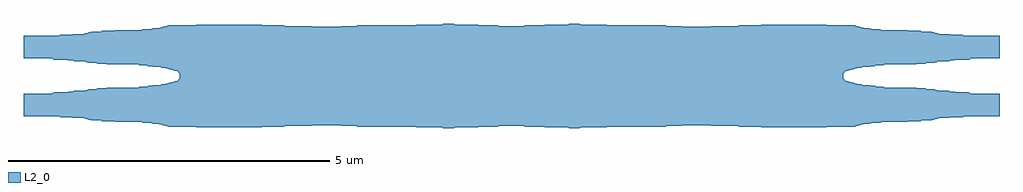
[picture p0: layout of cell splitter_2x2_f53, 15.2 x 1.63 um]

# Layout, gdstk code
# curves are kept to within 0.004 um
import gdstk
lib = gdstk.Library(unit=1e-6, precision=1e-09)
def P(c, l, *ps):  # polygons
    for p in ps: c.add(gdstk.Polygon(p, *l))
L2_0 = (2, 0)

splitter_2x2_f53 = lib.new_cell('splitter_2x2_f53')
P(splitter_2x2_f53, L2_0, [(-5.47,0.14),(-5.577,0.144),(-5.601,0.155),(-5.666,0.156),(-5.689,0.168),(-5.784,0.168),(-5.814,0.18),(-6.298,0.18),(-6.326,0.192),(-6.447,0.192),(-6.476,0.205),(-6.572,0.205),(-6.651,0.23),(-6.811,0.23),(-6.839,0.242),(-6.899,0.242),(-6.926,0.255),(-7.124,0.255),(-7.17,0.275),(-7.6,0.275),(-7.6,0.625),(-7.057,0.625),(-7.024,0.64),(-6.852,0.64),(-6.824,0.652),(-6.665,0.652),(-6.641,0.664),(-6.564,0.677),(-6.535,0.69),(-6.401,0.69),(-6.372,0.702),(-6.189,0.702),(-6.16,0.715),(-5.764,0.715),(-5.735,0.728),(-5.614,0.728),(-5.591,0.739),(-5.501,0.74),(-5.47,0.751)],
  [(-5.479,-0.752),(-5.501,-0.741),(-5.584,-0.741),(-5.614,-0.729),(-5.735,-0.729),(-5.764,-0.716),(-6.16,-0.716),(-6.189,-0.704),(-6.372,-0.704),(-6.401,-0.691),(-6.535,-0.691),(-6.614,-0.666),(-6.641,-0.665),(-6.665,-0.654),(-6.824,-0.654),(-6.852,-0.641),(-7.024,-0.641),(-7.052,-0.625),(-7.6,-0.625),(-7.6,-0.275),(-7.152,-0.275),(-7.124,-0.256),(-6.926,-0.256),(-6.899,-0.244),(-6.839,-0.244),(-6.811,-0.231),(-6.651,-0.231),(-6.572,-0.206),(-6.476,-0.206),(-6.447,-0.194),(-6.326,-0.194),(-6.298,-0.181),(-5.814,-0.181),(-5.784,-0.169),(-5.689,-0.169),(-5.666,-0.157),(-5.601,-0.156),(-5.577,-0.145),(-5.47,-0.141),(-5.47,-0.752)],
  [(5.475,-0.752),(5.475,-0.144),(5.576,-0.145),(5.6,-0.156),(5.665,-0.157),(5.687,-0.169),(5.79,-0.17),(5.812,-0.181),(6.296,-0.181),(6.325,-0.194),(6.446,-0.194),(6.475,-0.206),(6.571,-0.206),(6.65,-0.231),(6.81,-0.231),(6.838,-0.244),(6.897,-0.244),(6.925,-0.256),(7.122,-0.256),(7.151,-0.275),(7.6,-0.275),(7.6,-0.625),(7.051,-0.625),(7.022,-0.641),(6.851,-0.641),(6.822,-0.654),(6.664,-0.654),(6.64,-0.665),(6.612,-0.666),(6.534,-0.691),(6.4,-0.691),(6.371,-0.704),(6.187,-0.704),(6.159,-0.716),(5.762,-0.716),(5.734,-0.729),(5.612,-0.729),(5.59,-0.74),(5.5,-0.741)],
  [(5.475,0.142),(5.475,0.751),(5.5,0.74),(5.59,0.739),(5.612,0.728),(5.734,0.728),(5.762,0.715),(6.159,0.715),(6.187,0.702),(6.371,0.702),(6.4,0.69),(6.534,0.69),(6.562,0.677),(6.64,0.664),(6.664,0.652),(6.822,0.652),(6.851,0.64),(7.022,0.64),(7.056,0.625),(7.6,0.625),(7.6,0.275),(7.169,0.275),(7.122,0.255),(6.925,0.255),(6.897,0.242),(6.838,0.242),(6.81,0.23),(6.65,0.23),(6.571,0.205),(6.475,0.205),(6.446,0.192),(6.325,0.192),(6.296,0.18),(5.812,0.18),(5.79,0.169),(5.687,0.168),(5.665,0.156),(5.6,0.155),(5.576,0.144)],
  [(-4.902,-0.802),(-4.932,-0.79),(-5.34,-0.79),(-5.37,-0.777),(-5.39,-0.777),(-5.47,-0.752),(-5.47,-0.141),(-5.452,-0.132),(-5.407,-0.132),(-5.378,-0.12),(-5.351,-0.119),(-5.294,-0.096),(-5.264,-0.094),(-5.222,-0.08),(-5.192,-0.065),(-5.165,-0.032),(-5.165,0.031),(-5.192,0.064),(-5.222,0.079),(-5.269,0.094),(-5.294,0.095),(-5.357,0.119),(-5.378,0.119),(-5.407,0.131),(-5.452,0.131),(-5.47,0.14),(-5.47,0.751),(-5.451,0.752),(-5.39,0.776),(-5.364,0.777),(-5.34,0.789),(-4.932,0.789),(-4.902,0.801),(-3.891,0.801),(-3.891,-0.802)],
  [(-1.056,-0.815),(-1.085,-0.802),(-1.481,-0.802),(-1.51,-0.79),(-2.392,-0.79),(-2.422,-0.777),(-2.642,-0.777),(-2.672,-0.765),(-3.086,-0.765),(-3.116,-0.777),(-3.524,-0.777),(-3.554,-0.79),(-3.861,-0.79),(-3.891,-0.802),(-3.891,0.801),(-3.861,0.789),(-3.554,0.789),(-3.524,0.776),(-3.116,0.776),(-3.086,0.764),(-2.672,0.764),(-2.642,0.776),(-2.422,0.776),(-2.392,0.789),(-1.51,0.789),(-1.481,0.801),(-1.085,0.801),(-1.056,0.814),(-0.906,0.814),(-0.877,0.801),(-0.519,0.801),(-0.49,0.789),(-0.219,0.789),(-0.189,0.776),(0.187,0.776),(0.187,-0.777),(-0.189,-0.777),(-0.219,-0.79),(-0.49,-0.79),(-0.519,-0.802),(-0.877,-0.802),(-0.906,-0.815)],
  [(0.905,-0.815),(0.876,-0.802),(0.517,-0.802),(0.489,-0.79),(0.217,-0.79),(0.187,-0.777),(0.187,0.776),(0.217,0.789),(0.489,0.789),(0.517,0.801),(0.876,0.801),(0.905,0.814),(1.055,0.814),(1.084,0.801),(1.48,0.801),(1.509,0.789),(2.391,0.789),(2.421,0.776),(2.641,0.776),(2.671,0.764),(3.085,0.764),(3.115,0.776),(3.522,0.776),(3.552,0.789),(3.86,0.789),(3.89,0.801),(4.905,0.8),(4.905,-0.801),(3.89,-0.802),(3.86,-0.79),(3.552,-0.79),(3.522,-0.777),(3.115,-0.777),(3.085,-0.765),(2.671,-0.765),(2.641,-0.777),(2.421,-0.777),(2.391,-0.79),(1.509,-0.79),(1.48,-0.802),(1.084,-0.802),(1.055,-0.815)],
  [(4.905,-0.801),(4.905,0.8),(4.931,0.789),(5.339,0.789),(5.362,0.777),(5.389,0.776),(5.45,0.752),(5.475,0.751),(5.475,0.142),(5.451,0.131),(5.4,0.13),(5.289,0.094),(5.267,0.094),(5.221,0.079),(5.187,0.061),(5.164,0.031),(5.164,-0.032),(5.191,-0.065),(5.262,-0.094),(5.289,-0.095),(5.35,-0.119),(5.376,-0.12),(5.406,-0.132),(5.451,-0.132),(5.475,-0.144),(5.475,-0.752),(5.457,-0.752),(5.339,-0.79),(4.931,-0.79)])

lib.write_gds('splitter_2x2_f53.gds')
